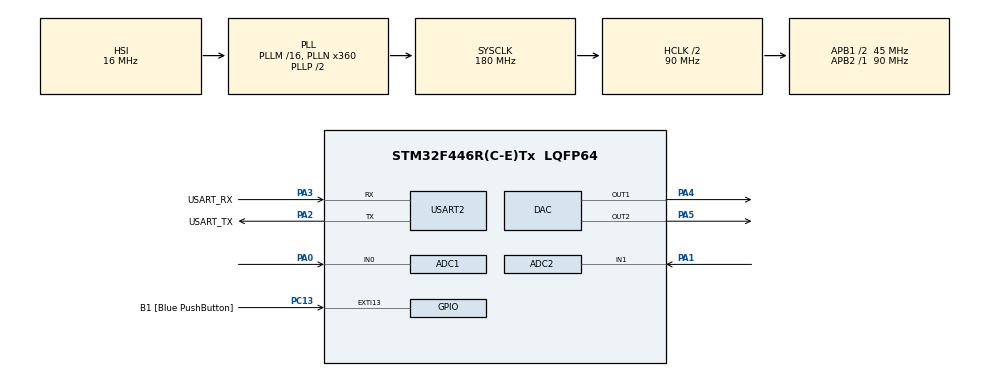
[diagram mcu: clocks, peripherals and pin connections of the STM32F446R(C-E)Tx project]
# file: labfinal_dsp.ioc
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ADC1.Channel-0\#ChannelRegularConversion=ADC_CHANNEL_0
ADC1.ClockPrescaler=ADC_CLOCK_SYNC_PCLK_DIV6
ADC1.DMAContinuousRequests=ENABLE
ADC1.ExternalTrigConv=ADC_EXTERNALTRIGCONV_T2_TRGO
ADC1.NbrOfConversion=1
ADC1.NbrOfConversionFlag=1
ADC1.Rank-0\#ChannelRegularConversion=1
ADC1.SamplingTime-0\#ChannelRegularConversion=ADC_SAMPLETIME_3CYCLES
ADC1.master=1
ADC2.Channel-1\#ChannelRegularConversion=ADC_CHANNEL_1
ADC2.ClockPrescaler=ADC_CLOCK_SYNC_PCLK_DIV6
ADC2.DMAContinuousRequests=ENABLE
ADC2.ExternalTrigConv=ADC_EXTERNALTRIGCONV_T2_TRGO
ADC2.NbrOfConversionFlag=1
ADC2.Rank-1\#ChannelRegularConversion=1
ADC2.SamplingTime-1\#ChannelRegularConversion=ADC_SAMPLETIME_3CYCLES
DAC.DAC_Trigger=DAC_TRIGGER_T2_TRGO
DAC.DAC_Trigger2=DAC_TRIGGER_T2_TRGO
DAC.WaveGeneration=DISABLE
Dma.ADC1.0.Direction=DMA_PERIPH_TO_MEMORY
Dma.ADC1.0.FIFOMode=DMA_FIFOMODE_DISABLE
Dma.ADC1.0.Instance=DMA2_Stream0
Dma.ADC1.0.MemDataAlignment=DMA_MDATAALIGN_HALFWORD
Dma.ADC1.0.MemInc=DMA_MINC_ENABLE
Dma.ADC1.0.Mode=DMA_CIRCULAR
Dma.ADC1.0.PeriphDataAlignment=DMA_PDATAALIGN_HALFWORD
Dma.ADC1.0.PeriphInc=DMA_PINC_DISABLE
Dma.ADC1.0.Priority=DMA_PRIORITY_HIGH
Dma.ADC2.1.Direction=DMA_PERIPH_TO_MEMORY
Dma.ADC2.1.FIFOMode=DMA_FIFOMODE_DISABLE
Dma.ADC2.1.Instance=DMA2_Stream2
Dma.ADC2.1.MemDataAlignment=DMA_MDATAALIGN_HALFWORD
Dma.ADC2.1.MemInc=DMA_MINC_ENABLE
Dma.ADC2.1.Mode=DMA_CIRCULAR
Dma.ADC2.1.PeriphDataAlignment=DMA_PDATAALIGN_HALFWORD
Dma.ADC2.1.PeriphInc=DMA_PINC_DISABLE
Dma.ADC2.1.Priority=DMA_PRIORITY_HIGH
Dma.DAC1.2.Direction=DMA_MEMORY_TO_PERIPH
Dma.DAC1.2.FIFOMode=DMA_FIFOMODE_DISABLE
Dma.DAC1.2.Instance=DMA1_Stream5
Dma.DAC1.2.MemDataAlignment=DMA_MDATAALIGN_HALFWORD
Dma.DAC1.2.MemInc=DMA_MINC_ENABLE
Dma.DAC1.2.Mode=DMA_CIRCULAR
Dma.DAC1.2.PeriphDataAlignment=DMA_PDATAALIGN_HALFWORD
Dma.DAC1.2.PeriphInc=DMA_PINC_DISABLE
Dma.DAC1.2.Priority=DMA_PRIORITY_HIGH
Dma.DAC2.3.Direction=DMA_MEMORY_TO_PERIPH
Dma.DAC2.3.FIFOMode=DMA_FIFOMODE_DISABLE
Dma.DAC2.3.Instance=DMA1_Stream6
Dma.DAC2.3.MemDataAlignment=DMA_MDATAALIGN_HALFWORD
Dma.DAC2.3.MemInc=DMA_MINC_ENABLE
Dma.DAC2.3.Mode=DMA_CIRCULAR
Dma.DAC2.3.PeriphDataAlignment=DMA_PDATAALIGN_HALFWORD
Dma.DAC2.3.PeriphInc=DMA_PINC_DISABLE
Dma.DAC2.3.Priority=DMA_PRIORITY_HIGH
Dma.Request0=ADC1
Dma.Request1=ADC2
Dma.Request2=DAC1
Dma.Request3=DAC2
Mcu.Family=STM32F4
Mcu.Name=STM32F446R(C-E)Tx
Mcu.Package=LQFP64
NVIC.DMA1_Stream5_IRQn=true\:0\:0\:false\:false\:true\:false\:true\:true
NVIC.DMA1_Stream6_IRQn=true\:0\:0\:false\:false\:true\:false\:true\:true
NVIC.DMA2_Stream0_IRQn=true\:0\:0\:false\:false\:true\:false\:true\:true
NVIC.DMA2_Stream2_IRQn=true\:0\:0\:false\:false\:true\:false\:true\:true
NVIC.EXTI15_10_IRQn=true\:0\:0\:false\:false\:true\:true\:true\:true
NVIC.PriorityGroup=NVIC_PRIORITYGROUP_0
PA0-WKUP.Signal=ADCx_IN0
PA1.Signal=ADCx_IN1
PA13.GPIO_Label=TMS
PA13.Mode=Serial_Wire
PA13.Signal=SYS_JTMS-SWDIO
PA14.GPIO_Label=TCK
PA14.Mode=Serial_Wire
PA14.Signal=SYS_JTCK-SWCLK
PA2.GPIO_Label=USART_TX
PA2.Mode=Asynchronous
PA2.Signal=USART2_TX
PA3.GPIO_Label=USART_RX
PA3.Mode=Asynchronous
PA3.Signal=USART2_RX
PA4.Signal=COMP_DAC1_group
PA5.Signal=COMP_DAC2_group
PB3.GPIO_Label=SWO
PB3.Signal=SYS_JTDO-SWO
PC13.GPIO_Label=B1 [Blue PushButton]
PC13.GPIO_ModeDefaultEXTI=GPIO_MODE_IT_FALLING
PC13.Signal=GPXTI13
PC14-OSC32_IN.Mode=LSE-External-Oscillator
PC14-OSC32_IN.Signal=RCC_OSC32_IN
PC15-OSC32_OUT.Mode=LSE-External-Oscillator
PC15-OSC32_OUT.Signal=RCC_OSC32_OUT
PH0-OSC_IN.Mode=HSE-External-Oscillator
PH0-OSC_IN.Signal=RCC_OSC_IN
PH1-OSC_OUT.Mode=HSE-External-Oscillator
PH1-OSC_OUT.Signal=RCC_OSC_OUT
ProjectManager.HeapSize=0x200
ProjectManager.StackSize=0x400
ProjectManager.TargetToolchain=STM32CubeIDE
RCC.48MHZClocksFreq_Value=84000000
RCC.AHBCLKDivider=RCC_SYSCLK_DIV2
RCC.AHBFreq_Value=90000000
RCC.APB1CLKDivider=RCC_HCLK_DIV2
RCC.APB1Freq_Value=45000000
RCC.APB1TimFreq_Value=90000000
RCC.APB2Freq_Value=90000000
RCC.APB2TimFreq_Value=90000000
RCC.CortexFreq_Value=90000000
RCC.FLatency-AdvancedSettings=FLASH_LATENCY_2
RCC.HCLKFreq_Value=90000000
RCC.HSE_VALUE=8000000
RCC.HSI_VALUE=16000000
RCC.PLLN=360
RCC.SYSCLKFreq_VALUE=180000000
RCC.SYSCLKSource=RCC_SYSCLKSOURCE_PLLCLK
RCC.USBFreq_Value=180000000
RCC.VCOOutputFreq_Value=360000000
SH.ADCx_IN0.0=ADC1_IN0,IN0
SH.ADCx_IN1.0=ADC2_IN1,IN1
SH.COMP_DAC1_group.0=DAC_OUT1,DAC_OUT1
SH.COMP_DAC2_group.0=DAC_OUT2,DAC_OUT2
TIM2.Period=4999
TIM2.Prescaler=89
TIM2.TIM_MasterOutputTrigger=TIM_TRGO_UPDATE
USART2.VirtualMode=VM_ASYNC
VP_TIM2_VS_ClockSourceINT.Mode=Internal
board=NUCLEO-F446RE

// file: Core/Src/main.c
/* USER CODE BEGIN Header */
/**
  ******************************************************************************
  * @file           : main.c
  * @brief          : Main program body
  ******************************************************************************
  * @attention
  *
  * Copyright (c) 2026 STMicroelectronics.
  * All rights reserved.
  *
  * This software is licensed under terms that can be found in the LICENSE file
  * in the root directory of this software component.
  * If no LICENSE file comes with this software, it is provided AS-IS.
  *
  ******************************************************************************
  */
/* USER CODE END Header */
#include "main.h"

/* USER CODE BEGIN Includes */
#include "arm_math.h"
/* USER CODE END Includes */

/* USER CODE BEGIN PTD */
typedef enum
{
  DAC2_OUT_LMS_ERROR = 0,     /* e(n): ECG filtrado por LMS */
  DAC2_OUT_LMS_OUTPUT,        /* y(n): estimación de ruido del LMS */
  DAC2_OUT_ADC1_INPUT,        /* d(n): entrada principal ADC1 */
  DAC2_OUT_ADC2_INPUT,        /* x(n): referencia ADC2 */
  DAC2_OUT_PT_BANDPASS,       /* salida pasa-altos Pan-Tompkins */
  DAC2_OUT_PT_DERIVATIVE,     /* salida derivativa Pan-Tompkins */
  DAC2_OUT_PT_MWI,            /* integración de ventana móvil */
  DAC2_OUT_COUNT
} dac2_output_mode_t;

/* USER CODE END PTD */

/* USER CODE BEGIN PD */
#define BLOCK_SIZE      32U
#define BUFFER_SIZE     (2U * BLOCK_SIZE)
#define DAC_MID_SCALE   2048U
#define LMS_ORDER       32U
#define LMS_MU          0.005f
#define MWI_SIZE        30U

#define ADC1_READY_FLAG (1UL << 0)
#define ADC2_READY_FLAG (1UL << 1)
#define ADC_BOTH_READY  (ADC1_READY_FLAG | ADC2_READY_FLAG)

#define ADC_DAC_MAX_CODE   4095.0f
#define ANALOG_VDDA        3.3f
#define SIGNAL_BIAS        0.0f

#define BUTTON_DEBOUNCE_MS  200U

#define ECG_FS_HZ              200U
#define QRS_REFRACTORY_MS      200U
#define QRS_REFRACTORY_SAMPLES ((ECG_FS_HZ * QRS_REFRACTORY_MS) / 1000U)
#define QRS_INIT_SAMPLES       (2U * ECG_FS_HZ)
/* USER CODE END PD */

ADC_HandleTypeDef hadc1;
ADC_HandleTypeDef hadc2;
DMA_HandleTypeDef hdma_adc1;
DMA_HandleTypeDef hdma_adc2;

DAC_HandleTypeDef hdac;
DMA_HandleTypeDef hdma_dac1;
DMA_HandleTypeDef hdma_dac2;

TIM_HandleTypeDef htim2;

UART_HandleTypeDef huart2;

/* USER CODE BEGIN PV */
/* Buffers DMA ping-pong: dos mitades de BLOCK_SIZE muestras. */
static uint16_t adc_buffer_ch1[BUFFER_SIZE];
static uint16_t adc_buffer_ch2[BUFFER_SIZE];

static uint16_t dac_buffer_ch1[BUFFER_SIZE];
static uint16_t dac_buffer_ch2[BUFFER_SIZE];

/* Bloques de entrada y salida del filtro adaptativo LMS. */
static float32_t d_block[BLOCK_SIZE];
static float32_t x_block[BLOCK_SIZE];
static float32_t y_block[BLOCK_SIZE];
static float32_t e_block[BLOCK_SIZE];

/* Coeficientes, estado persistente e instancia CMSIS-DSP del LMS. */
static float32_t lms_coeffs[LMS_ORDER];
static float32_t lms_state[LMS_ORDER + BLOCK_SIZE - 1U];
static arm_lms_instance_f32 lms_instance;

/* Bloques intermedios de la cadena de preprocesamiento Pan-Tompkins. */
static float32_t lpf_block[BLOCK_SIZE];
static float32_t hpf_block[BLOCK_SIZE];
static float32_t der_block[BLOCK_SIZE];
static float32_t sq_block[BLOCK_SIZE];
static float32_t mwi_block[BLOCK_SIZE];

/*
 * Estado persistente del filtro pasa-bajos. Las historias deben conservarse
 * entre bloques DMA para procesar la señal como una secuencia continua.
 */
static float32_t lpf_x_hist[13];
static uint32_t lpf_x_idx = 0U;
static float32_t lpf_y1 = 0.0f;
static float32_t lpf_y2 = 0.0f;

/* Estado persistente del filtro pasa-altos. */
static float32_t hpf_x_hist[33];
static uint32_t hpf_x_idx = 0U;
static float32_t hpf_y1 = 0.0f;

/* Historia circular utilizada por la etapa derivativa. */
static float32_t der_x_hist[5];
static uint32_t der_x_idx = 0U;

/* Estado del integrador de ventana móvil de 30 muestras (150 ms a 200 Hz). */
static float32_t mwi_hist[MWI_SIZE];
static uint32_t mwi_idx = 0U;
static uint32_t mwi_count = 0U;
static float32_t mwi_acc = 0.0f;

/* Estado del detector simple de QRS/pulso basado en la salida MWI. */
static float32_t qrs_prev2 = 0.0f;
static float32_t qrs_prev1 = 0.0f;

static float32_t qrs_signal_level = 0.0f;
static float32_t qrs_noise_level = 0.0f;
static float32_t qrs_threshold = 0.0f;

static uint32_t qrs_sample_index = 0U;
static uint32_t qrs_last_sample = 0U;
static uint32_t qrs_init_count = 0U;
static float32_t qrs_init_max = 0.0f;

/* Variables visibles desde el debugger para validar el conteo de pulso. */
static volatile uint32_t pulse_count = 0U;
static volatile float32_t heart_rate_bpm = 0.0f;
static volatile uint8_t qrs_detected_flag = 0U;

/* Estado compartido entre las interrupciones DMA y el bucle principal. */
static volatile uint32_t adc_half_ready_mask = 0U;
static volatile uint32_t adc_full_ready_mask = 0U;
static volatile uint32_t adc_error_mask = 0U;

/* Modo actual de salida del DAC2. Puede observarse desde el debugger. */
static volatile dac2_output_mode_t dac2_output_mode = DAC2_OUT_LMS_ERROR;

/* Contador auxiliar para verificar pulsaciones desde el debugger. */
static volatile uint32_t dac2_output_switch_count = 0U;

/* Antirrebote simple para el botón B1. */
static volatile uint32_t button_last_tick_ms = 0U;
/* USER CODE END PV */

void SystemClock_Config(void);
static void MX_GPIO_Init(void);
static void MX_DMA_Init(void);
static void MX_USART2_UART_Init(void);
static void MX_ADC1_Init(void);
static void MX_ADC2_Init(void);
static void MX_DAC_Init(void);
static void MX_TIM2_Init(void);

/* USER CODE BEGIN 0 */

/**
 * @brief Convierte una muestra ADC de 12 bits en voltios centrados en cero.
 *
 * @param adc_value Código ADC dentro del rango [0, 4095].
 * @return Tensión aproximada dentro del rango [-VDDA/2, +VDDA/2].
 */
static float32_t adc_to_float(uint16_t adc_value)
{
    float32_t voltage;

    voltage = ((float32_t)adc_value * ANALOG_VDDA) / ADC_DAC_MAX_CODE;

    return voltage - SIGNAL_BIAS;
}

/**
 * @brief Convierte una tensión centrada en cero en un código DAC de 12 bits.
 *
 * @param value Tensión dentro del rango aproximado [-VDDA/2, +VDDA/2].
 * @return Código DAC saturado dentro del rango [0, 4095].
 */
static uint16_t float_to_dac(float32_t value)
{
    float32_t dac_code;

    dac_code = ((value + SIGNAL_BIAS) * ADC_DAC_MAX_CODE) / ANALOG_VDDA;

    if (dac_code <= 0.0f)
    {
        return 0U;
    }

    if (dac_code >= ADC_DAC_MAX_CODE)
    {
        return 4095U;
    }

    /* Suma 0.5 para redondear en lugar de truncar. */
    return (uint16_t)(dac_code + 0.5f);
}

/**
 * @brief Aplica una etapa pasa-bajos de Pan-Tompkins a una muestra.
 *
 * La ecuación utiliza las muestras de entrada x(n), x(n-6) y x(n-12),
 * junto con las dos salidas anteriores. El estado se conserva entre bloques.
 */
static float32_t lpf_process_sample(float32_t x)
{
  uint32_t x6_idx;
  uint32_t x12_idx;
  float32_t y;

  x6_idx = (lpf_x_idx + 13U - 6U) % 13U;
  x12_idx = (lpf_x_idx + 13U - 12U) % 13U;

  lpf_x_hist[lpf_x_idx] = x;

  y = (2.0f * lpf_y1)
      - lpf_y2
      + x
      - (2.0f * lpf_x_hist[x6_idx])
      + lpf_x_hist[x12_idx];

  lpf_y2 = lpf_y1;
  lpf_y1 = y;
  lpf_x_idx = (lpf_x_idx + 1U) % 13U;

  return y;
}

/**
 * @brief Aplica una etapa pasa-altos de Pan-Tompkins a una muestra.
 *
 * Esta etapa elimina la componente de continua y las variaciones lentas que
 * permanecen a la salida del filtro pasa-bajos.
 */
static float32_t hpf_process_sample(float32_t x)
{
  uint32_t x16_idx;
  uint32_t x17_idx;
  uint32_t x32_idx;
  float32_t y;

  x16_idx = (hpf_x_idx + 33U - 16U) % 33U;
  x17_idx = (hpf_x_idx + 33U - 17U) % 33U;
  x32_idx = (hpf_x_idx + 33U - 32U) % 33U;

  hpf_x_hist[hpf_x_idx] = x;

  y = hpf_y1
      - (x / 32.0f)
      + hpf_x_hist[x16_idx]
      - hpf_x_hist[x17_idx]
      + (hpf_x_hist[x32_idx] / 32.0f);

  hpf_y1 = y;
  hpf_x_idx = (hpf_x_idx + 1U) % 33U;

  return y;
}

/**
 * @brief Calcula una aproximación de la derivada mediante cinco muestras.
 *
 * La derivada resalta las pendientes pronunciadas asociadas al complejo QRS.
 */
static float32_t derivative_process_sample(float32_t x)
{
  uint32_t x1_idx;
  uint32_t x3_idx;
  uint32_t x4_idx;
  float32_t y;

  x1_idx = (der_x_idx + 5U - 1U) % 5U;
  x3_idx = (der_x_idx + 5U - 3U) % 5U;
  x4_idx = (der_x_idx + 5U - 4U) % 5U;

  der_x_hist[der_x_idx] = x;

  y = ((2.0f * x)
       + der_x_hist[x1_idx]
       - der_x_hist[x3_idx]
       - (2.0f * der_x_hist[x4_idx])) / 8.0f;

  der_x_idx = (der_x_idx + 1U) % 5U;

  return y;
}

/**
 * @brief Integra una muestra al cuadrado dentro de una ventana móvil.
 *
 * La suma acumulada evita recorrer las 30 muestras en cada actualización.
 * Durante el llenado inicial devuelve cero hasta disponer de una ventana
 * completa de 150 ms.
 */
static float32_t moving_window_process_sample(float32_t x_squared)
{
  if (mwi_count < MWI_SIZE)
  {
    mwi_hist[mwi_idx] = x_squared;
    mwi_acc += x_squared;
    mwi_idx = (mwi_idx + 1U) % MWI_SIZE;
    mwi_count++;

    if (mwi_count < MWI_SIZE)
    {
      return 0.0f;
    }
  }
  else
  {
    mwi_acc -= mwi_hist[mwi_idx];
    mwi_hist[mwi_idx] = x_squared;
    mwi_acc += x_squared;
    mwi_idx = (mwi_idx + 1U) % MWI_SIZE;
  }

  return mwi_acc / (float32_t)MWI_SIZE;
}

/**
 * @brief Ejecuta el preprocesamiento Pan-Tompkins sobre un bloque completo.
 *
 * Las etapas aplicadas son: pasa-bajos, pasa-altos, derivada, elevación al
 * cuadrado e integración de ventana móvil. No incluye todavía detección de
 * picos ni umbrales adaptativos.
 */
static void pan_tompkins_process_block(const float32_t *input,
                                       uint32_t block_size)
{
  for (uint32_t i = 0U; i < block_size; i++)
  {
    lpf_block[i] = lpf_process_sample(input[i]);
    hpf_block[i] = hpf_process_sample(lpf_block[i]);
    der_block[i] = derivative_process_sample(hpf_block[i]);
    sq_block[i] = der_block[i] * der_block[i];
    mwi_block[i] = moving_window_process_sample(sq_block[i]);
  }
}

/**
 * @brief Actualiza el umbral adaptativo usado para detectar picos QRS.
 *
 * El umbral se ubica entre el nivel estimado de ruido y el nivel estimado
 * de señal. Esta versión es intencionalmente simple y evita una máquina de
 * estados completa.
 */
static void qrs_update_threshold(void)
{
  qrs_threshold = qrs_noise_level + (0.25f * (qrs_signal_level - qrs_noise_level));
}

/**
 * @brief Procesa una muestra del MWI y actualiza el conteo de pulso.
 *
 * La detección usa máximos locales, un umbral adaptativo y un período
 * refractario de 200 ms para evitar contar dos veces el mismo complejo QRS.
 */
static void qrs_process_sample(float32_t mwi_sample)
{
  float32_t peak;
  uint32_t peak_sample_index;
  uint32_t rr_samples;

  qrs_detected_flag = 0U;

  /*
   * Durante los primeros 2 segundos se estima una escala inicial del MWI.
   * Esto evita arrancar con un umbral nulo o completamente arbitrario.
   */
  if (qrs_init_count < QRS_INIT_SAMPLES)
  {
    if (mwi_sample > qrs_init_max)
    {
      qrs_init_max = mwi_sample;
    }

    qrs_init_count++;
    qrs_sample_index++;

    if (qrs_init_count == QRS_INIT_SAMPLES)
    {
      qrs_signal_level = 0.50f * qrs_init_max;
      qrs_noise_level = 0.05f * qrs_init_max;
      qrs_update_threshold();
    }

    qrs_prev2 = qrs_prev1;
    qrs_prev1 = mwi_sample;

    return;
  }

  /*
   * Detección de máximo local: qrs_prev1 es pico si quedó por encima de la
   * muestra anterior y de la muestra actual.
   */
  if ((qrs_prev1 > qrs_prev2) && (qrs_prev1 >= mwi_sample))
  {
    peak = qrs_prev1;
    peak_sample_index = qrs_sample_index - 1U;

    if (peak > qrs_threshold)
    {
      if ((peak_sample_index - qrs_last_sample) >= QRS_REFRACTORY_SAMPLES)
      {
        pulse_count++;
        qrs_detected_flag = 1U;

        if (qrs_last_sample != 0U)
        {
          rr_samples = peak_sample_index - qrs_last_sample;

          if (rr_samples != 0U)
          {
            heart_rate_bpm = (60.0f * (float32_t)ECG_FS_HZ) / (float32_t)rr_samples;
          }
        }

        qrs_last_sample = peak_sample_index;

        /* Pico aceptado: actualiza la estimación del nivel de señal. */
        qrs_signal_level = (0.125f * peak) + (0.875f * qrs_signal_level);
      }
      else
      {
        /*
         * Pico por encima del umbral pero dentro del período refractario:
         * se considera parte del mismo complejo o ruido cercano.
         */
        qrs_noise_level = (0.125f * peak) + (0.875f * qrs_noise_level);
      }
    }
    else
    {
      /* Pico por debajo del umbral: actualiza la estimación de ruido. */
      qrs_noise_level = (0.125f * peak) + (0.875f * qrs_noise_level);
    }

    qrs_update_threshold();
  }

  qrs_prev2 = qrs_prev1;
  qrs_prev1 = mwi_sample;
  qrs_sample_index++;
}

/**
 * @brief Selecciona qué señal interna se enviará al DAC2.
 *
 * El índice corresponde a la muestra actual dentro del bloque procesado.
 * La conversión final a código DAC se hace fuera de esta función.
 */
static float32_t dac2_select_sample(dac2_output_mode_t mode, uint32_t index)
{
  float32_t sample;

  switch (mode)
  {
    case DAC2_OUT_LMS_ERROR:
      /* e(n): salida útil del cancelador adaptativo. */
      sample = e_block[index];
      break;

    case DAC2_OUT_LMS_OUTPUT:
      /* y(n): estimación de ruido generada por el LMS. */
      sample = y_block[index];
      break;

    case DAC2_OUT_ADC1_INPUT:
      /* d(n): señal principal adquirida por ADC1. */
      sample = d_block[index];
      break;

    case DAC2_OUT_ADC2_INPUT:
      /* x(n): referencia de ruido adquirida por ADC2. */
      sample = x_block[index];
      break;

    case DAC2_OUT_PT_BANDPASS:
      /* Señal luego del pasa-bajos + pasa-altos de Pan-Tompkins. */
      sample = hpf_block[index];
      break;

    case DAC2_OUT_PT_DERIVATIVE:
      /* Derivada de Pan-Tompkins. */
      sample = der_block[index];
      break;

    case DAC2_OUT_PT_MWI:
      /* Integrador de ventana móvil. */
      sample = mwi_block[index];
      break;

    default:
      sample = e_block[index];
      break;
  }

  return sample;
}

/**
 * @brief Ejecuta LMS y el preprocesamiento Pan-Tompkins sobre un bloque.
 *
 * ADC1 contiene la señal deseada d(n), mientras ADC2 proporciona la
 * referencia de ruido x(n). El error e(n) del LMS alimenta Pan-Tompkins.
 * DAC1 entrega el integrador de ventana móvil y DAC2 el ECG filtrado por LMS.
 */
static void process_block(const uint16_t *adc1_ptr,
                          const uint16_t *adc2_ptr,
                          uint16_t *dac1_ptr,
                          uint16_t *dac2_ptr)
{
  dac2_output_mode_t current_dac2_mode;

  for (uint32_t i = 0U; i < BLOCK_SIZE; i++)
  {
    d_block[i] = adc_to_float(adc1_ptr[i]);
    x_block[i] = adc_to_float(adc2_ptr[i]);
  }

  arm_lms_f32(&lms_instance,
              x_block,
              d_block,
              y_block,
              e_block,
              BLOCK_SIZE);

  /* El ECG filtrado por LMS alimenta todas las etapas de Pan-Tompkins. */
  pan_tompkins_process_block(e_block, BLOCK_SIZE);

  /* Detecta complejos QRS sobre el MWI y actualiza contador/BPM. */
  for (uint32_t i = 0U; i < BLOCK_SIZE; i++)
  {
    qrs_process_sample(mwi_block[i]);
  }

  /*
   * Copia local del modo de salida. Así, aunque el botón se pulse durante el
   * procesamiento, todo este bloque DMA se genera con la misma señal en DAC2.
   */
  current_dac2_mode = dac2_output_mode;

  for (uint32_t i = 0U; i < BLOCK_SIZE; i++)
  {
    /* DAC1 permite observar la energía integrada asociada al complejo QRS. */
    dac1_ptr[i] = float_to_dac(mwi_block[i]);

    /* DAC2 permite observar una señal interna seleccionable. */
    dac2_ptr[i] = float_to_dac(dac2_select_sample(current_dac2_mode, i));
  }
}

/**
 * @brief Extrae un evento cuando ambos ADC completaron la misma mitad.
 * @param ready_mask Máscara de sincronización de la mitad consultada.
 * @retval 1 si el bloque está listo; 0 en caso contrario.
 */
static uint8_t adc_take_ready_block(volatile uint32_t *ready_mask)
{
  uint8_t block_ready = 0U;
  uint32_t primask = __get_PRIMASK();

  __disable_irq();

  if ((*ready_mask & ADC_BOTH_READY) == ADC_BOTH_READY)
  {
    *ready_mask &= ~ADC_BOTH_READY;
    block_ready = 1U;
  }

  if (primask == 0U)
  {
    __enable_irq();
  }

  return block_ready;
}

/* USER CODE END 0 */

int main(void)
{

  /* MCU Configuration--------------------------------------------------------*/

  /* Reset of all peripherals, Initializes the Flash interface and the Systick. */
  HAL_Init();

  /* Configure the system clock */
  SystemClock_Config();

  /* Initialize all configured peripherals */
  MX_GPIO_Init();
  MX_DMA_Init();
  MX_USART2_UART_Init();
  MX_ADC1_Init();
  MX_ADC2_Init();
  MX_DAC_Init();
  MX_TIM2_Init();

  /* USER CODE BEGIN 2 */

/* Inicializa una única vez el estado y los coeficientes del filtro LMS. */
arm_lms_init_f32(&lms_instance,
                 LMS_ORDER,
                 lms_coeffs,
                 lms_state,
                 LMS_MU,
                 BLOCK_SIZE);

/* Inicializa las salidas DAC en media escala: aproximadamente VDDA / 2. */
for (uint32_t i = 0U; i < BUFFER_SIZE; i++)
{
    dac_buffer_ch1[i] = DAC_MID_SCALE;
    dac_buffer_ch2[i] = DAC_MID_SCALE;
}

/* Arma primero las transferencias DMA del DAC. */
/* DAC 1 */
if (HAL_DAC_Start_DMA(&hdac, DAC_CHANNEL_1, (uint32_t *)dac_buffer_ch1, BUFFER_SIZE, DAC_ALIGN_12B_R) != HAL_OK)
{
    Error_Handler();
}

/* DAC 2 */
if (HAL_DAC_Start_DMA(&hdac, DAC_CHANNEL_2, (uint32_t *)dac_buffer_ch2, BUFFER_SIZE, DAC_ALIGN_12B_R) != HAL_OK)
{
    Error_Handler();
}

/* Arma las adquisiciones ADC mediante DMA circular. */
/* ADC 1 */
if (HAL_ADC_Start_DMA(&hadc1, (uint32_t *)adc_buffer_ch1, BUFFER_SIZE) != HAL_OK)
{
    Error_Handler();
}

/* ADC 2 */
if (HAL_ADC_Start_DMA(&hadc2, (uint32_t *)adc_buffer_ch2, BUFFER_SIZE) != HAL_OK)
{
   Error_Handler();
}

/*
 * Inicia TIM2 al final. Desde este momento, cada TRGO de 200 Hz
 * dispara simultáneamente los ADC y los DAC.
 */
if (HAL_TIM_Base_Start(&htim2) != HAL_OK)
{
    Error_Handler();
}

  /* USER CODE END 2 */

  /* Infinite loop */
  while (1)
  {

    /* USER CODE BEGIN 3 */
    /* Primera mitad: índices 0 a BLOCK_SIZE - 1. */
    if (adc_take_ready_block(&adc_half_ready_mask) != 0U)
    {

       process_block(&adc_buffer_ch1[0],
                     &adc_buffer_ch2[0],
                     &dac_buffer_ch1[0],
                     &dac_buffer_ch2[0]);

    }

    /* Segunda mitad: índices BLOCK_SIZE a BUFFER_SIZE - 1. */
    if (adc_take_ready_block(&adc_full_ready_mask) != 0U)
    {

       process_block(&adc_buffer_ch1[BLOCK_SIZE],
                     &adc_buffer_ch2[BLOCK_SIZE],
                     &dac_buffer_ch1[BLOCK_SIZE],
                     &dac_buffer_ch2[BLOCK_SIZE]);

    }

    if (adc_error_mask != 0U)
    {
      /* Pendiente: agregar diagnóstico o recuperación del ADC. */
    }

  }
  /* USER CODE END 3 */
}

/* ==================================================================================================================================*/
/* =============================================== CONFIGURACIONES ==================================================================*/
/* ==================================================================================================================================*/

void SystemClock_Config(void)
{
  RCC_OscInitTypeDef RCC_OscInitStruct = {0};
  RCC_ClkInitTypeDef RCC_ClkInitStruct = {0};

  /** Configure the main internal regulator output voltage
  */
  __HAL_RCC_PWR_CLK_ENABLE();
  __HAL_PWR_VOLTAGESCALING_CONFIG(PWR_REGULATOR_VOLTAGE_SCALE3);

  /** Initializes the RCC Oscillators according to the specified parameters
  * in the RCC_OscInitTypeDef structure.
  */
  RCC_OscInitStruct.OscillatorType = RCC_OSCILLATORTYPE_HSI;
  RCC_OscInitStruct.HSIState = RCC_HSI_ON;
  RCC_OscInitStruct.HSICalibrationValue = RCC_HSICALIBRATION_DEFAULT;
  RCC_OscInitStruct.PLL.PLLState = RCC_PLL_ON;
  RCC_OscInitStruct.PLL.PLLSource = RCC_PLLSOURCE_HSI;
  RCC_OscInitStruct.PLL.PLLM = 16;
  RCC_OscInitStruct.PLL.PLLN = 360;
  RCC_OscInitStruct.PLL.PLLP = RCC_PLLP_DIV2;
  RCC_OscInitStruct.PLL.PLLQ = 2;
  RCC_OscInitStruct.PLL.PLLR = 2;
  if (HAL_RCC_OscConfig(&RCC_OscInitStruct) != HAL_OK)
  {
    Error_Handler();
  }

  /** Initializes the CPU, AHB and APB buses clocks
  */
  RCC_ClkInitStruct.ClockType = RCC_CLOCKTYPE_HCLK|RCC_CLOCKTYPE_SYSCLK
                              |RCC_CLOCKTYPE_PCLK1|RCC_CLOCKTYPE_PCLK2;
  RCC_ClkInitStruct.SYSCLKSource = RCC_SYSCLKSOURCE_PLLCLK;
  RCC_ClkInitStruct.AHBCLKDivider = RCC_SYSCLK_DIV2;
  RCC_ClkInitStruct.APB1CLKDivider = RCC_HCLK_DIV2;
  RCC_ClkInitStruct.APB2CLKDivider = RCC_HCLK_DIV1;

  if (HAL_RCC_ClockConfig(&RCC_ClkInitStruct, FLASH_LATENCY_2) != HAL_OK)
  {
    Error_Handler();
  }
}

static void MX_ADC1_Init(void)
{

  ADC_ChannelConfTypeDef sConfig = {0};

  /** Configure the global features of the ADC (Clock, Resolution, Data Alignment and number of conversion)
  */
  hadc1.Instance = ADC1;
  hadc1.Init.ClockPrescaler = ADC_CLOCK_SYNC_PCLK_DIV6;
  hadc1.Init.Resolution = ADC_RESOLUTION_12B;
  hadc1.Init.ScanConvMode = DISABLE;
  hadc1.Init.ContinuousConvMode = DISABLE;
  hadc1.Init.DiscontinuousConvMode = DISABLE;
  hadc1.Init.ExternalTrigConvEdge = ADC_EXTERNALTRIGCONVEDGE_RISING;
  hadc1.Init.ExternalTrigConv = ADC_EXTERNALTRIGCONV_T2_TRGO;
  hadc1.Init.DataAlign = ADC_DATAALIGN_RIGHT;
  hadc1.Init.NbrOfConversion = 1;
  hadc1.Init.DMAContinuousRequests = ENABLE;
  hadc1.Init.EOCSelection = ADC_EOC_SINGLE_CONV;
  if (HAL_ADC_Init(&hadc1) != HAL_OK)
  {
    Error_Handler();
  }

  /** Configure for the selected ADC regular channel its corresponding rank in the sequencer and its sample time.
  */
  sConfig.Channel = ADC_CHANNEL_0;
  sConfig.Rank = 1;
  sConfig.SamplingTime = ADC_SAMPLETIME_3CYCLES;
  if (HAL_ADC_ConfigChannel(&hadc1, &sConfig) != HAL_OK)
  {
    Error_Handler();
  }

}

static void MX_ADC2_Init(void)
{

  ADC_ChannelConfTypeDef sConfig = {0};

  /** Configure the global features of the ADC (Clock, Resolution, Data Alignment and number of conversion)
  */
  hadc2.Instance = ADC2;
  hadc2.Init.ClockPrescaler = ADC_CLOCK_SYNC_PCLK_DIV6;
  hadc2.Init.Resolution = ADC_RESOLUTION_12B;
  hadc2.Init.ScanConvMode = DISABLE;
  hadc2.Init.ContinuousConvMode = DISABLE;
  hadc2.Init.DiscontinuousConvMode = DISABLE;
  hadc2.Init.ExternalTrigConvEdge = ADC_EXTERNALTRIGCONVEDGE_RISING;
  hadc2.Init.ExternalTrigConv = ADC_EXTERNALTRIGCONV_T2_TRGO;
  hadc2.Init.DataAlign = ADC_DATAALIGN_RIGHT;
  hadc2.Init.NbrOfConversion = 1;
  hadc2.Init.DMAContinuousRequests = ENABLE;
  hadc2.Init.EOCSelection = ADC_EOC_SINGLE_CONV;
  if (HAL_ADC_Init(&hadc2) != HAL_OK)
  {
    Error_Handler();
  }

  /** Configure for the selected ADC regular channel its corresponding rank in the sequencer and its sample time.
  */
  sConfig.Channel = ADC_CHANNEL_1;
  sConfig.Rank = 1;
  sConfig.SamplingTime = ADC_SAMPLETIME_3CYCLES;
  if (HAL_ADC_ConfigChannel(&hadc2, &sConfig) != HAL_OK)
  {
    Error_Handler();
  }

}

static void MX_DAC_Init(void)
{

  DAC_ChannelConfTypeDef sConfig = {0};

  /** DAC Initialization
  */
  hdac.Instance = DAC;
  if (HAL_DAC_Init(&hdac) != HAL_OK)
  {
    Error_Handler();
  }

  /** DAC channel OUT1 config
  */
  sConfig.DAC_Trigger = DAC_TRIGGER_T2_TRGO;
  sConfig.DAC_OutputBuffer = DAC_OUTPUTBUFFER_ENABLE;
  if (HAL_DAC_ConfigChannel(&hdac, &sConfig, DAC_CHANNEL_1) != HAL_OK)
  {
    Error_Handler();
  }

  /** DAC channel OUT2 config
  */
  if (HAL_DAC_ConfigChannel(&hdac, &sConfig, DAC_CHANNEL_2) != HAL_OK)
  {
    Error_Handler();
  }

}

static void MX_TIM2_Init(void)
{

  TIM_ClockConfigTypeDef sClockSourceConfig = {0};
  TIM_MasterConfigTypeDef sMasterConfig = {0};

  htim2.Instance = TIM2;
  htim2.Init.Prescaler = 89;
  htim2.Init.CounterMode = TIM_COUNTERMODE_UP;
  htim2.Init.Period = 4999;
  htim2.Init.ClockDivision = TIM_CLOCKDIVISION_DIV1;
  htim2.Init.AutoReloadPreload = TIM_AUTORELOAD_PRELOAD_DISABLE;
  if (HAL_TIM_Base_Init(&htim2) != HAL_OK)
  {
    Error_Handler();
  }
  sClockSourceConfig.ClockSource = TIM_CLOCKSOURCE_INTERNAL;
  if (HAL_TIM_ConfigClockSource(&htim2, &sClockSourceConfig) != HAL_OK)
  {
    Error_Handler();
  }
  sMasterConfig.MasterOutputTrigger = TIM_TRGO_UPDATE;
  sMasterConfig.MasterSlaveMode = TIM_MASTERSLAVEMODE_DISABLE;
  if (HAL_TIMEx_MasterConfigSynchronization(&htim2, &sMasterConfig) != HAL_OK)
  {
    Error_Handler();
  }

}

static void MX_USART2_UART_Init(void)
{

  huart2.Instance = USART2;
  huart2.Init.BaudRate = 115200;
  huart2.Init.WordLength = UART_WORDLENGTH_8B;
  huart2.Init.StopBits = UART_STOPBITS_1;
  huart2.Init.Parity = UART_PARITY_NONE;
  huart2.Init.Mode = UART_MODE_TX_RX;
  huart2.Init.HwFlowCtl = UART_HWCONTROL_NONE;
  huart2.Init.OverSampling = UART_OVERSAMPLING_16;
  if (HAL_UART_Init(&huart2) != HAL_OK)
  {
    Error_Handler();
  }

}

static void MX_DMA_Init(void)
{

  /* DMA controller clock enable */
  __HAL_RCC_DMA2_CLK_ENABLE();
  __HAL_RCC_DMA1_CLK_ENABLE();

  /* DMA interrupt init */
  /* DMA1_Stream5_IRQn interrupt configuration */
  HAL_NVIC_SetPriority(DMA1_Stream5_IRQn, 0, 0);
  HAL_NVIC_EnableIRQ(DMA1_Stream5_IRQn);
  /* DMA1_Stream6_IRQn interrupt configuration */
  HAL_NVIC_SetPriority(DMA1_Stream6_IRQn, 0, 0);
  HAL_NVIC_EnableIRQ(DMA1_Stream6_IRQn);
  /* DMA2_Stream0_IRQn interrupt configuration */
  HAL_NVIC_SetPriority(DMA2_Stream0_IRQn, 0, 0);
  HAL_NVIC_EnableIRQ(DMA2_Stream0_IRQn);
  /* DMA2_Stream2_IRQn interrupt configuration */
  HAL_NVIC_SetPriority(DMA2_Stream2_IRQn, 0, 0);
  HAL_NVIC_EnableIRQ(DMA2_Stream2_IRQn);

}

static void MX_GPIO_Init(void)
{
  GPIO_InitTypeDef GPIO_InitStruct = {0};

  /* GPIO Ports Clock Enable */
  __HAL_RCC_GPIOC_CLK_ENABLE();
  __HAL_RCC_GPIOH_CLK_ENABLE();
  __HAL_RCC_GPIOA_CLK_ENABLE();
  __HAL_RCC_GPIOB_CLK_ENABLE();

  /*Configure GPIO pin : B1_Pin */
  GPIO_InitStruct.Pin = B1_Pin;
  GPIO_InitStruct.Mode = GPIO_MODE_IT_FALLING;
  GPIO_InitStruct.Pull = GPIO_NOPULL;
  HAL_GPIO_Init(B1_GPIO_Port, &GPIO_InitStruct);

  /* EXTI interrupt init*/
  HAL_NVIC_SetPriority(EXTI15_10_IRQn, 0, 0);
  HAL_NVIC_EnableIRQ(EXTI15_10_IRQn);

}

/* USER CODE BEGIN 4 */

/**
 * @brief Notifica la finalización de la primera mitad de un buffer ADC.
 */
void HAL_ADC_ConvHalfCpltCallback(ADC_HandleTypeDef *hadc)
{
  if (hadc->Instance == ADC1)
  {
    adc_half_ready_mask |= ADC1_READY_FLAG;
  }
  else if (hadc->Instance == ADC2)
  {
    adc_half_ready_mask |= ADC2_READY_FLAG;
  }
}

/**
 * @brief Notifica la finalización de la segunda mitad de un buffer ADC.
 */
void HAL_ADC_ConvCpltCallback(ADC_HandleTypeDef *hadc)
{
  if (hadc->Instance == ADC1)
  {
    adc_full_ready_mask |= ADC1_READY_FLAG;
  }
  else if (hadc->Instance == ADC2)
  {
    adc_full_ready_mask |= ADC2_READY_FLAG;
  }
}

/**
 * @brief Registra errores producidos durante una adquisición ADC por DMA.
 */
void HAL_ADC_ErrorCallback(ADC_HandleTypeDef *hadc)
{
  if (hadc->Instance == ADC1)
  {
    adc_error_mask |= ADC1_READY_FLAG;
  }
  else if (hadc->Instance == ADC2)
  {
    adc_error_mask |= ADC2_READY_FLAG;
  }
}

/**
 * @brief Cambia la señal observada por DAC2 con cada pulsación de B1.
 *
 * Usa un antirrebote básico por tiempo. Cada flanco válido avanza al siguiente
 * modo de salida y vuelve al primero al llegar al final de la lista.
 */
void HAL_GPIO_EXTI_Callback(uint16_t GPIO_Pin)
{
  uint32_t now_ms;
  uint32_t next_mode;

  if (GPIO_Pin == B1_Pin)
  {
    now_ms = HAL_GetTick();

    if ((now_ms - button_last_tick_ms) >= BUTTON_DEBOUNCE_MS)
    {
      button_last_tick_ms = now_ms;

      next_mode = (uint32_t)dac2_output_mode + 1U;

      if (next_mode >= (uint32_t)DAC2_OUT_COUNT)
      {
        next_mode = 0U;
      }

      dac2_output_mode = (dac2_output_mode_t)next_mode;
      dac2_output_switch_count++;
    }
  }
}

/* USER CODE END 4 */

void Error_Handler(void)
{
  __disable_irq();
  while (1)
  {
  }
}
